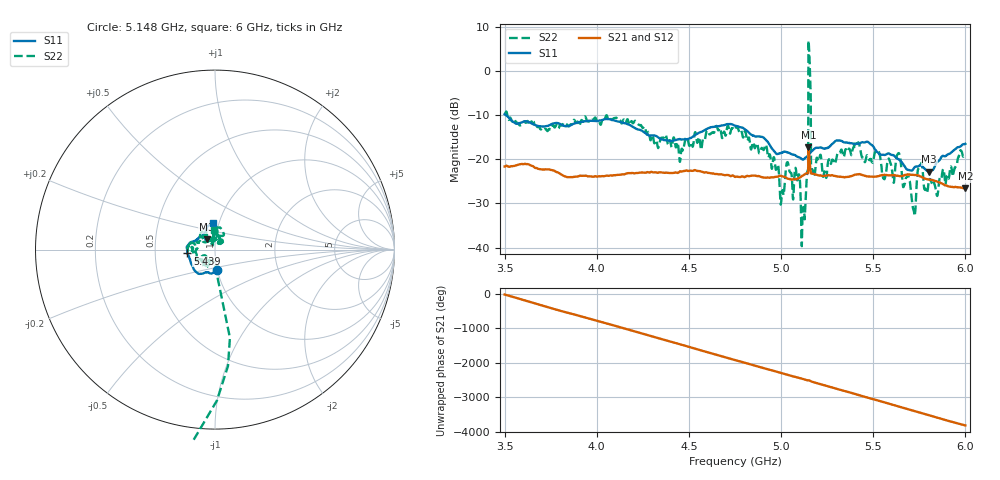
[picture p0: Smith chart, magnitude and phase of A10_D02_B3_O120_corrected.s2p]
! Created with skrf 1.9.0 (http://scikit-rf.org).
# Hz S RI R 50.0
!freq ReS11 ImS11 ReS21 ImS21 ReS12 ImS12 ReS22 ImS22
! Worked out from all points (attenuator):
!   1601 points, 3.5 GHz to 6 GHz, reference 50 ohm
!   highest |S21| = -17.28 dB at 5.148 GHz (marker M1); lowest = -26.6 dB at 6 GHz (marker M2)
!   lowest |S11| = -22.8 dB at 5.803 GHz (marker M3), VSWR 1.16, Z = 45.4 + j5.15 ohm
!   |S11| at or under -10 dB: 3.506 GHz to end of sweep
!   |S22| runs from -39.7 to 6.9 dB; largest |S21 - S12| = 0.00097
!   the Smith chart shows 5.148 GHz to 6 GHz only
!   S11 on the Smith chart (normalised r, x): 5.148 GHz: 0.99, -0.22; 5.439 GHz: 0.73, -0.03; 6 GHz: 0.94, +0.28
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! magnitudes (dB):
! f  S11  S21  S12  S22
! 3.5 GHz  -9.8  -21.6  -21.7  -10.0
! 3.917 GHz  -11.6  -23.7  -23.7  -11.1
! 4.334 GHz  -15.1  -23.0  -23.0  -17.3
! 4.75 GHz  -12.4  -24.0  -23.9  -13.2
! 4.916 GHz  -15.5  -24.2  -24.2  -16.7
! 5.005 GHz  -18.5  -23.8  -23.8  -27.5
! 5.034 GHz  -18.4  -24.4  -24.3  -20.7
! 5.088 GHz  -19.4  -24.4  -24.4  -24.8
! 5.12 GHz  -20.1  -23.6  -23.6  -30.8
! 5.134 GHz  -19.6  -23.2  -23.2  -28.2
! 5.148 GHz  -19.1  -17.3  -17.3  6.9
! 5.161 GHz  -18.4  -22.7  -22.7  -6.0
! 5.167 GHz  -18.1  -23.2  -23.2  -22.3
! 5.175 GHz  -17.8  -23.3  -23.3  -23.0
! 5.236 GHz  -17.6  -23.7  -23.7  -22.7
! 5.439 GHz  -16.2  -23.5  -23.5  -19.6
! 5.584 GHz  -18.7  -23.6  -23.6  -19.8
! 5.639 GHz  -20.0  -23.8  -23.7  -18.6
! 5.719 GHz  -22.1  -23.5  -23.5  -31.6
! 5.753 GHz  -21.4  -23.9  -23.8  -21.6
! 5.803 GHz  -22.8  -24.6  -24.5  -24.6
! 6 GHz  -16.5  -26.6  -26.5  -19.3
